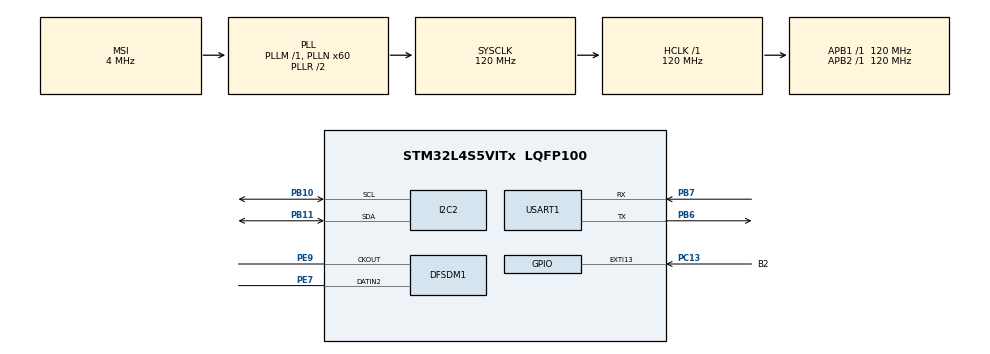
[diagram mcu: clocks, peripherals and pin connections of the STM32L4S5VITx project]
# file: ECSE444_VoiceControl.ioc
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DFSDM1.Divider=60
DFSDM1.DmaMode_reg_FIL0=ENABLE
DFSDM1.FastMode_reg_FIL0=ENABLE
DFSDM1.Filter_regChannel_FIL0=DFSDM_CHANNEL_2
DFSDM1.Fosr_FIL0=250
DFSDM1.Offset_CH2=0
DFSDM1.RightBitShift_CH2=0x00
DFSDM1.SincOrder_FIL0=DFSDM_FILTER_SINC3_ORDER
Dma.DFSDM1_FLT0.0.Direction=DMA_PERIPH_TO_MEMORY
Dma.DFSDM1_FLT0.0.EventEnable=DISABLE
Dma.DFSDM1_FLT0.0.Instance=DMA1_Channel1
Dma.DFSDM1_FLT0.0.MemDataAlignment=DMA_MDATAALIGN_WORD
Dma.DFSDM1_FLT0.0.MemInc=DMA_MINC_ENABLE
Dma.DFSDM1_FLT0.0.Mode=DMA_CIRCULAR
Dma.DFSDM1_FLT0.0.PeriphDataAlignment=DMA_PDATAALIGN_WORD
Dma.DFSDM1_FLT0.0.PeriphInc=DMA_PINC_DISABLE
Dma.DFSDM1_FLT0.0.Polarity=HAL_DMAMUX_REQUEST_GEN_RISING
Dma.DFSDM1_FLT0.0.Priority=DMA_PRIORITY_LOW
Dma.DFSDM1_FLT0.0.RequestNumber=1
Dma.DFSDM1_FLT0.0.SignalID=NONE
Dma.DFSDM1_FLT0.0.SyncEnable=DISABLE
Dma.DFSDM1_FLT0.0.SyncPolarity=HAL_DMAMUX_SYNC_NO_EVENT
Dma.DFSDM1_FLT0.0.SyncRequestNumber=1
Dma.DFSDM1_FLT0.0.SyncSignalID=NONE
Dma.Request0=DFSDM1_FLT0
I2C2.Timing=0x30A175AB
Mcu.Family=STM32L4
Mcu.Name=STM32L4S5VITx
Mcu.Package=LQFP100
NVIC.DMA1_Channel1_IRQn=true\:0\:0\:false\:false\:true\:false\:true\:true
NVIC.EXTI15_10_IRQn=true\:0\:0\:false\:false\:true\:true\:true\:true
NVIC.PriorityGroup=NVIC_PRIORITYGROUP_4
NVIC.TIM2_IRQn=true\:0\:0\:false\:false\:true\:true\:true\:true
PB10.Mode=I2C
PB10.Signal=I2C2_SCL
PB11.Mode=I2C
PB11.Signal=I2C2_SDA
PB6.Mode=Asynchronous
PB6.Signal=USART1_TX
PB7.Mode=Asynchronous
PB7.Signal=USART1_RX
PC13.GPIO_Label=B2
PC13.Signal=GPXTI13
PE10.Signal=OCTOSPIM_P1_CLK
PE11.Signal=OCTOSPIM_P1_NCS
PE12.Signal=OCTOSPIM_P1_IO0
PE13.Signal=OCTOSPIM_P1_IO1
PE14.Signal=OCTOSPIM_P1_IO2
PE15.Signal=OCTOSPIM_P1_IO3
PE7.Signal=S_DATAIN2DFSDM1
PE9.Signal=S_CKOUTDFSDM1
ProjectManager.HeapSize=0x800
ProjectManager.StackSize=0x800
ProjectManager.TargetToolchain=STM32CubeIDE
RCC.ADCFreq_Value=32000000
RCC.AHBFreq_Value=120000000
RCC.APB1Freq_Value=120000000
RCC.APB1TimFreq_Value=120000000
RCC.APB2Freq_Value=120000000
RCC.APB2TimFreq_Value=120000000
RCC.CortexFreq_Value=120000000
RCC.DFSDMAudioCLockSelection=RCC_DFSDM1AUDIOCLKSOURCE_SAI1
RCC.HCLKFreq_Value=120000000
RCC.HSE_VALUE=8000000
RCC.HSI48_VALUE=48000000
RCC.HSI_VALUE=16000000
RCC.LSE_VALUE=32768
RCC.MSI_VALUE=4000000
RCC.PLLN=60
RCC.PLLSAI1N=16
RCC.SYSCLKFreq_VALUE=120000000
RCC.SYSCLKSource=RCC_SYSCLKSOURCE_PLLCLK
RCC.USBFreq_Value=32000000
RCC.VCOOutputFreq_Value=240000000
SH.S_CKOUTDFSDM1.0=DFSDM1_CKOUT,PDM_SPI_input_from_ch2_and_internal_clock
SH.S_CKOUTDFSDM1.1=DFSDM1_CKOUT,CKOUT
SH.S_DATAIN2DFSDM1.0=DFSDM1_DATIN2,PDM_SPI_input_from_ch2_and_internal_clock
STMicroelectronics.X-CUBE-AI.9.1.0.HeapSize=0x800
STMicroelectronics.X-CUBE-AI.9.1.0.ModelActualCompression-aefaec8a0258086133f6fc342d00fc4e88e6e870b29e14da3a0089a900b873ba=0.0
STMicroelectronics.X-CUBE-AI.9.1.0.ModelCompression-aefaec8a0258086133f6fc342d00fc4e88e6e870b29e14da3a0089a900b873ba=None
STMicroelectronics.X-CUBE-AI.9.1.0.ModelFlashOccupation-aefaec8a0258086133f6fc342d00fc4e88e6e870b29e14da3a0089a900b873ba=0
STMicroelectronics.X-CUBE-AI.9.1.0.ModelHashList=aefaec8a0258086133f6fc342d00fc4e88e6e870b29e14da3a0089a900b873ba
STMicroelectronics.X-CUBE-AI.9.1.0.ModelKind-aefaec8a0258086133f6fc342d00fc4e88e6e870b29e14da3a0089a900b873ba=TFLITE
STMicroelectronics.X-CUBE-AI.9.1.0.ModelMacc-aefaec8a0258086133f6fc342d00fc4e88e6e870b29e14da3a0089a900b873ba=0
STMicroelectronics.X-CUBE-AI.9.1.0.ModelName-aefaec8a0258086133f6fc342d00fc4e88e6e870b29e14da3a0089a900b873ba=speech_commands
STMicroelectronics.X-CUBE-AI.9.1.0.ModelNameList=speech_commands
STMicroelectronics.X-CUBE-AI.9.1.0.ModelRamOccupation-aefaec8a0258086133f6fc342d00fc4e88e6e870b29e14da3a0089a900b873ba=0
STMicroelectronics.X-CUBE-AI.9.1.0.ModelType-aefaec8a0258086133f6fc342d00fc4e88e6e870b29e14da3a0089a900b873ba=STM32Cube.AI MCU runtime
STMicroelectronics.X-CUBE-AI.9.1.0.ReadyForCodeGeneration=false
STMicroelectronics.X-CUBE-AI.9.1.0.StackSize=0x800
STMicroelectronics.X-CUBE-AI.9.1.0.WorkingBufferStartAddrList=0xFFFFFFFF
STMicroelectronics.X-CUBE-AI.9.1.0.copyWeightToRam-aefaec8a0258086133f6fc342d00fc4e88e6e870b29e14da3a0089a900b873ba=false
STMicroelectronics.X-CUBE-AI.9.1.0.customLayerConfigEnabled-aefaec8a0258086133f6fc342d00fc4e88e6e870b29e14da3a0089a900b873ba=false
STMicroelectronics.X-CUBE-AI.9.1.0.noOnnxIoTranspose-aefaec8a0258086133f6fc342d00fc4e88e6e870b29e14da3a0089a900b873ba=false
STMicroelectronics.X-CUBE-AI.9.1.0.useInputAllocation-aefaec8a0258086133f6fc342d00fc4e88e6e870b29e14da3a0089a900b873ba=true
STMicroelectronics.X-CUBE-AI.9.1.0.useOutputAllocation-aefaec8a0258086133f6fc342d00fc4e88e6e870b29e14da3a0089a900b873ba=true
TIM2.Period=10000-1
TIM2.Prescaler=12000
USART1.VirtualMode-Asynchronous=VM_ASYNC
VP_OCTOSPI1_VS_quad.Mode=quad_mode
VP_TIM2_VS_ClockSourceINT.Mode=Internal
board=B-L4S5I-IOT01A

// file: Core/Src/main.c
/* USER CODE BEGIN Header */
/**
  ******************************************************************************
  * @file           : main.c
  * @brief          : Main program body
  ******************************************************************************
  * @attention
  *
  * Copyright (c) 2024 STMicroelectronics.
  * All rights reserved.
  *
  * This software is licensed under terms that can be found in the LICENSE file
  * in the root directory of this software component.
  * If no LICENSE file comes with this software, it is provided AS-IS.
  *
  ******************************************************************************
  */
/* USER CODE END Header */
#include "main.h"

DFSDM_Filter_HandleTypeDef hdfsdm1_filter0;
DFSDM_Channel_HandleTypeDef hdfsdm1_channel2;
DMA_HandleTypeDef hdma_dfsdm1_flt0;

I2C_HandleTypeDef hi2c2;

OSPI_HandleTypeDef hospi1;

TIM_HandleTypeDef htim2;

UART_HandleTypeDef huart1;

/* USER CODE BEGIN PV */

// Sensor choice
uint8_t sensor_choice = 5; // by default it should wait for a valid input

// Audio buffer
uint8_t dmaRecHalfBuffCplt = 0;
uint8_t dmaRecBuffCplt = 0;

// Blue user push button
volatile int trigger_action = 0;

// Timer flag
volatile int timer_action = 0;

/* USER CODE END PV */

void SystemClock_Config(void);
static void MX_GPIO_Init(void);
static void MX_DMA_Init(void);
static void MX_I2C2_Init(void);
static void MX_USART1_UART_Init(void);
static void MX_DFSDM1_Init(void);
static void MX_OCTOSPI1_Init(void);
static void MX_TIM2_Init(void);

int main(void)
{

  /* MCU Configuration--------------------------------------------------------*/

  /* Reset of all peripherals, Initializes the Flash interface and the Systick. */
  HAL_Init();

  /* Configure the system clock */
  SystemClock_Config();

  /* Initialize all configured peripherals */
  MX_GPIO_Init();
  MX_DMA_Init();
  MX_I2C2_Init();
  MX_USART1_UART_Init();
  MX_DFSDM1_Init();
  MX_OCTOSPI1_Init();
  MX_TIM2_Init();
  /* USER CODE BEGIN 2 */

  // Initialize QSPI
  QspiInit();

  // Initialize sensors
  initializeSensor();

  // Starting DFSDM DMA mode to start microphone audio acquisition
  HAL_DFSDM_FilterRegularStart_DMA(&hdfsdm1_filter0, audioRecBuffer, AUDIO_BUFFER_SIZE);

  // FFT initialization
  arm_rfft_fast_init_f32(&S, FFT_SIZE);

  // Start timer
  HAL_TIM_Base_Start_IT(&htim2);

  // Delay for 500ms to allow the sensor to stabilize
  HAL_Delay(500);

  /* USER CODE END 2 */

  /* Infinite loop */
  /* USER CODE BEGIN WHILE */
  while (1)
  {

    if (timer_action == 1)
    {
      timer_action = 0;

      // Read sensor data, transmit sensor data and store sensor data
      // if sensor choice is between 0 and 3
      if (sensor_choice >= 0 && sensor_choice <= 3)
      {
        storeQspiData(sensor_choice, readSensorData(sensor_choice));
      }

      // Dump data if sensor choice is 4 and terminate the program
      else if (sensor_choice == 4)
      {
        dumpQspiData();
        while (1)
          ;
      }

      transmitSensorData(sensor_choice);
    }

    if (dmaRecHalfBuffCplt)
    {
      dmaRecHalfBuffCpltConversion();
      dmaRecHalfBuffCplt = 0;

      if (trigger_action == 1)
      {
        sensor_choice = commandTranslator();
        trigger_action = 0;
      }
    }

    if (dmaRecBuffCplt)
    {
      dmaRecBuffCpltConversion();
      dmaRecBuffCplt = 0;

      if (trigger_action == 1)
      {
        sensor_choice = commandTranslator();
        trigger_action = 0;
      }
    }

    /* USER CODE END WHILE */

  }
}

void SystemClock_Config(void)
{
  RCC_OscInitTypeDef RCC_OscInitStruct = {0};
  RCC_ClkInitTypeDef RCC_ClkInitStruct = {0};

  /** Configure the main internal regulator output voltage
  */
  if (HAL_PWREx_ControlVoltageScaling(PWR_REGULATOR_VOLTAGE_SCALE1_BOOST) != HAL_OK)
  {
    Error_Handler();
  }

  /** Initializes the RCC Oscillators according to the specified parameters
  * in the RCC_OscInitTypeDef structure.
  */
  RCC_OscInitStruct.OscillatorType = RCC_OSCILLATORTYPE_MSI;
  RCC_OscInitStruct.MSIState = RCC_MSI_ON;
  RCC_OscInitStruct.MSICalibrationValue = 0;
  RCC_OscInitStruct.MSIClockRange = RCC_MSIRANGE_6;
  RCC_OscInitStruct.PLL.PLLState = RCC_PLL_ON;
  RCC_OscInitStruct.PLL.PLLSource = RCC_PLLSOURCE_MSI;
  RCC_OscInitStruct.PLL.PLLM = 1;
  RCC_OscInitStruct.PLL.PLLN = 60;
  RCC_OscInitStruct.PLL.PLLP = RCC_PLLP_DIV2;
  RCC_OscInitStruct.PLL.PLLQ = RCC_PLLQ_DIV2;
  RCC_OscInitStruct.PLL.PLLR = RCC_PLLR_DIV2;
  if (HAL_RCC_OscConfig(&RCC_OscInitStruct) != HAL_OK)
  {
    Error_Handler();
  }

  /** Initializes the CPU, AHB and APB buses clocks
  */
  RCC_ClkInitStruct.ClockType = RCC_CLOCKTYPE_HCLK|RCC_CLOCKTYPE_SYSCLK
                              |RCC_CLOCKTYPE_PCLK1|RCC_CLOCKTYPE_PCLK2;
  RCC_ClkInitStruct.SYSCLKSource = RCC_SYSCLKSOURCE_PLLCLK;
  RCC_ClkInitStruct.AHBCLKDivider = RCC_SYSCLK_DIV1;
  RCC_ClkInitStruct.APB1CLKDivider = RCC_HCLK_DIV1;
  RCC_ClkInitStruct.APB2CLKDivider = RCC_HCLK_DIV1;

  if (HAL_RCC_ClockConfig(&RCC_ClkInitStruct, FLASH_LATENCY_5) != HAL_OK)
  {
    Error_Handler();
  }
}

static void MX_DFSDM1_Init(void)
{

  hdfsdm1_filter0.Instance = DFSDM1_Filter0;
  hdfsdm1_filter0.Init.RegularParam.Trigger = DFSDM_FILTER_SW_TRIGGER;
  hdfsdm1_filter0.Init.RegularParam.FastMode = ENABLE;
  hdfsdm1_filter0.Init.RegularParam.DmaMode = ENABLE;
  hdfsdm1_filter0.Init.FilterParam.SincOrder = DFSDM_FILTER_SINC3_ORDER;
  hdfsdm1_filter0.Init.FilterParam.Oversampling = 250;
  hdfsdm1_filter0.Init.FilterParam.IntOversampling = 1;
  if (HAL_DFSDM_FilterInit(&hdfsdm1_filter0) != HAL_OK)
  {
    Error_Handler();
  }
  hdfsdm1_channel2.Instance = DFSDM1_Channel2;
  hdfsdm1_channel2.Init.OutputClock.Activation = ENABLE;
  hdfsdm1_channel2.Init.OutputClock.Selection = DFSDM_CHANNEL_OUTPUT_CLOCK_SYSTEM;
  hdfsdm1_channel2.Init.OutputClock.Divider = 60;
  hdfsdm1_channel2.Init.Input.Multiplexer = DFSDM_CHANNEL_EXTERNAL_INPUTS;
  hdfsdm1_channel2.Init.Input.DataPacking = DFSDM_CHANNEL_STANDARD_MODE;
  hdfsdm1_channel2.Init.Input.Pins = DFSDM_CHANNEL_SAME_CHANNEL_PINS;
  hdfsdm1_channel2.Init.SerialInterface.Type = DFSDM_CHANNEL_SPI_RISING;
  hdfsdm1_channel2.Init.SerialInterface.SpiClock = DFSDM_CHANNEL_SPI_CLOCK_INTERNAL;
  hdfsdm1_channel2.Init.Awd.FilterOrder = DFSDM_CHANNEL_FASTSINC_ORDER;
  hdfsdm1_channel2.Init.Awd.Oversampling = 1;
  hdfsdm1_channel2.Init.Offset = 0;
  hdfsdm1_channel2.Init.RightBitShift = 0x00;
  if (HAL_DFSDM_ChannelInit(&hdfsdm1_channel2) != HAL_OK)
  {
    Error_Handler();
  }
  if (HAL_DFSDM_FilterConfigRegChannel(&hdfsdm1_filter0, DFSDM_CHANNEL_2, DFSDM_CONTINUOUS_CONV_ON) != HAL_OK)
  {
    Error_Handler();
  }

}

static void MX_I2C2_Init(void)
{

  hi2c2.Instance = I2C2;
  hi2c2.Init.Timing = 0x30A175AB;
  hi2c2.Init.OwnAddress1 = 0;
  hi2c2.Init.AddressingMode = I2C_ADDRESSINGMODE_7BIT;
  hi2c2.Init.DualAddressMode = I2C_DUALADDRESS_DISABLE;
  hi2c2.Init.OwnAddress2 = 0;
  hi2c2.Init.OwnAddress2Masks = I2C_OA2_NOMASK;
  hi2c2.Init.GeneralCallMode = I2C_GENERALCALL_DISABLE;
  hi2c2.Init.NoStretchMode = I2C_NOSTRETCH_DISABLE;
  if (HAL_I2C_Init(&hi2c2) != HAL_OK)
  {
    Error_Handler();
  }

  /** Configure Analogue filter
  */
  if (HAL_I2CEx_ConfigAnalogFilter(&hi2c2, I2C_ANALOGFILTER_ENABLE) != HAL_OK)
  {
    Error_Handler();
  }

  /** Configure Digital filter
  */
  if (HAL_I2CEx_ConfigDigitalFilter(&hi2c2, 0) != HAL_OK)
  {
    Error_Handler();
  }

}

static void MX_OCTOSPI1_Init(void)
{

  /* OCTOSPI1 parameter configuration*/
  hospi1.Instance = OCTOSPI1;
  hospi1.Init.FifoThreshold = 1;
  hospi1.Init.DualQuad = HAL_OSPI_DUALQUAD_DISABLE;
  hospi1.Init.MemoryType = HAL_OSPI_MEMTYPE_MICRON;
  hospi1.Init.DeviceSize = 32;
  hospi1.Init.ChipSelectHighTime = 1;
  hospi1.Init.FreeRunningClock = HAL_OSPI_FREERUNCLK_DISABLE;
  hospi1.Init.ClockMode = HAL_OSPI_CLOCK_MODE_0;
  hospi1.Init.ClockPrescaler = 1;
  hospi1.Init.SampleShifting = HAL_OSPI_SAMPLE_SHIFTING_NONE;
  hospi1.Init.DelayHoldQuarterCycle = HAL_OSPI_DHQC_DISABLE;
  hospi1.Init.ChipSelectBoundary = 0;
  hospi1.Init.DelayBlockBypass = HAL_OSPI_DELAY_BLOCK_BYPASSED;
  if (HAL_OSPI_Init(&hospi1) != HAL_OK)
  {
    Error_Handler();
  }

}

static void MX_TIM2_Init(void)
{

  TIM_ClockConfigTypeDef sClockSourceConfig = {0};
  TIM_MasterConfigTypeDef sMasterConfig = {0};

  htim2.Instance = TIM2;
  htim2.Init.Prescaler = 12000;
  htim2.Init.CounterMode = TIM_COUNTERMODE_UP;
  htim2.Init.Period = 10000-1;
  htim2.Init.ClockDivision = TIM_CLOCKDIVISION_DIV1;
  htim2.Init.AutoReloadPreload = TIM_AUTORELOAD_PRELOAD_DISABLE;
  if (HAL_TIM_Base_Init(&htim2) != HAL_OK)
  {
    Error_Handler();
  }
  sClockSourceConfig.ClockSource = TIM_CLOCKSOURCE_INTERNAL;
  if (HAL_TIM_ConfigClockSource(&htim2, &sClockSourceConfig) != HAL_OK)
  {
    Error_Handler();
  }
  sMasterConfig.MasterOutputTrigger = TIM_TRGO_RESET;
  sMasterConfig.MasterSlaveMode = TIM_MASTERSLAVEMODE_DISABLE;
  if (HAL_TIMEx_MasterConfigSynchronization(&htim2, &sMasterConfig) != HAL_OK)
  {
    Error_Handler();
  }

}

static void MX_USART1_UART_Init(void)
{

  huart1.Instance = USART1;
  huart1.Init.BaudRate = 115200;
  huart1.Init.WordLength = UART_WORDLENGTH_8B;
  huart1.Init.StopBits = UART_STOPBITS_1;
  huart1.Init.Parity = UART_PARITY_NONE;
  huart1.Init.Mode = UART_MODE_TX_RX;
  huart1.Init.HwFlowCtl = UART_HWCONTROL_NONE;
  huart1.Init.OverSampling = UART_OVERSAMPLING_16;
  huart1.Init.OneBitSampling = UART_ONE_BIT_SAMPLE_DISABLE;
  huart1.Init.ClockPrescaler = UART_PRESCALER_DIV1;
  huart1.AdvancedInit.AdvFeatureInit = UART_ADVFEATURE_NO_INIT;
  if (HAL_UART_Init(&huart1) != HAL_OK)
  {
    Error_Handler();
  }
  if (HAL_UARTEx_SetTxFifoThreshold(&huart1, UART_TXFIFO_THRESHOLD_1_8) != HAL_OK)
  {
    Error_Handler();
  }
  if (HAL_UARTEx_SetRxFifoThreshold(&huart1, UART_RXFIFO_THRESHOLD_1_8) != HAL_OK)
  {
    Error_Handler();
  }
  if (HAL_UARTEx_DisableFifoMode(&huart1) != HAL_OK)
  {
    Error_Handler();
  }

}

static void MX_DMA_Init(void)
{

  /* DMA controller clock enable */
  __HAL_RCC_DMAMUX1_CLK_ENABLE();
  __HAL_RCC_DMA1_CLK_ENABLE();

  /* DMA interrupt init */
  /* DMA1_Channel1_IRQn interrupt configuration */
  HAL_NVIC_SetPriority(DMA1_Channel1_IRQn, 0, 0);
  HAL_NVIC_EnableIRQ(DMA1_Channel1_IRQn);

}

static void MX_GPIO_Init(void)
{
  GPIO_InitTypeDef GPIO_InitStruct = {0};

  /* GPIO Ports Clock Enable */
  __HAL_RCC_GPIOC_CLK_ENABLE();
  __HAL_RCC_GPIOE_CLK_ENABLE();
  __HAL_RCC_GPIOB_CLK_ENABLE();

  /*Configure GPIO pin : B2_Pin */
  GPIO_InitStruct.Pin = B2_Pin;
  GPIO_InitStruct.Mode = GPIO_MODE_IT_RISING;
  GPIO_InitStruct.Pull = GPIO_NOPULL;
  HAL_GPIO_Init(B2_GPIO_Port, &GPIO_InitStruct);

  /*Configure GPIO pins : PE10 PE11 PE12 PE13
                           PE14 PE15 */
  GPIO_InitStruct.Pin = GPIO_PIN_10|GPIO_PIN_11|GPIO_PIN_12|GPIO_PIN_13
                          |GPIO_PIN_14|GPIO_PIN_15;
  GPIO_InitStruct.Mode = GPIO_MODE_AF_PP;
  GPIO_InitStruct.Pull = GPIO_NOPULL;
  GPIO_InitStruct.Speed = GPIO_SPEED_FREQ_VERY_HIGH;
  GPIO_InitStruct.Alternate = GPIO_AF10_OCTOSPIM_P1;
  HAL_GPIO_Init(GPIOE, &GPIO_InitStruct);

  /* EXTI interrupt init*/
  HAL_NVIC_SetPriority(EXTI15_10_IRQn, 0, 0);
  HAL_NVIC_EnableIRQ(EXTI15_10_IRQn);

}

/* USER CODE BEGIN 4 */

/**
 * @brief Print formatted string to UART
 *
 * @param fmt  Format string
 * @param ...  Variable arguments
 * @return int Number of characters printed
 */
int printf(const char *fmt, ...)
{
  static char buffer[64];
  va_list args;
  va_start(args, fmt);
  vsnprintf(buffer, sizeof(buffer), fmt, args);
  va_end(args);

  int len = strlen(buffer);
  HAL_UART_Transmit(&huart1, (uint8_t *)buffer, len, 1000);
  return len;
}

/**
 * @brief Callback function for half complete conversion
 *
 * @param hdfsdm_filter DFSDM filter handle
 */
void HAL_DFSDM_FilterRegConvHalfCpltCallback(DFSDM_Filter_HandleTypeDef *hdfsdm_filter)
{
  dmaRecHalfBuffCplt = 1;
}

/**
 * @brief Callback function for complete conversion
 *
 * @param hdfsdm_filter DFSDM filter handle
 */
void HAL_DFSDM_FilterRegConvCpltCallback(DFSDM_Filter_HandleTypeDef *hdfsdm_filter)
{
  dmaRecBuffCplt = 1;
}

/**
 * @brief Callback function for push button
 *
 * @param GPIO_Pin GPIO pin
 */
void HAL_GPIO_EXTI_Callback(uint16_t GPIO_Pin)
{

  if (GPIO_Pin == B2_Pin)
  {
    trigger_action = 1;
  }
}

/**
 * @brief Callback function for timer
 *
 * @param htim Timer handle
 */
void HAL_TIM_PeriodElapsedCallback(TIM_HandleTypeDef *htim)
{
  if (htim->Instance == TIM2)
  {
    timer_action = 1;
  }
}

/* USER CODE END 4 */

void Error_Handler(void)
{
  __disable_irq();
  while (1)
  {
  }
}
